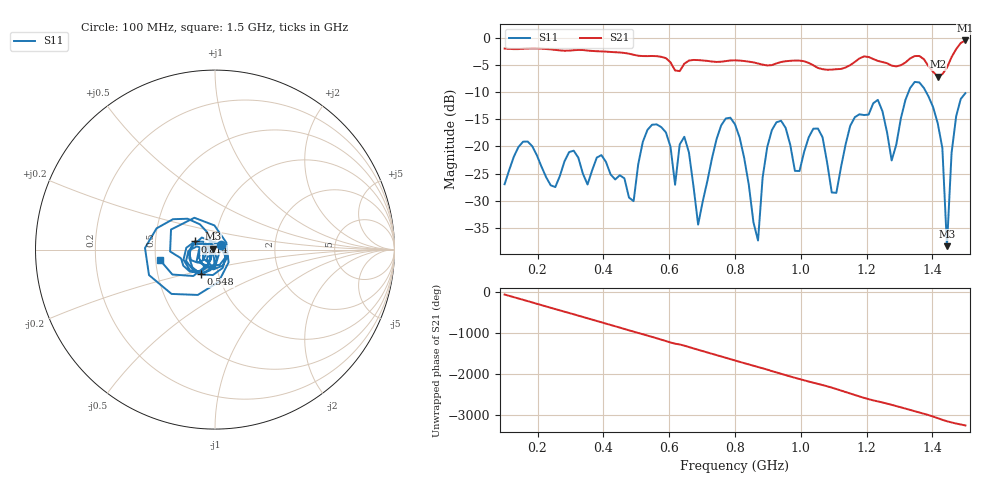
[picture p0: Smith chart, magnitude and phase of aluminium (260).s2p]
! NanoVNA-App
! Date: 2025-09-25 14:57:18
! Start: 100MHz Stop: 1,5GHz Points: 101
! S-Parameter data: F S11 S21 S12 S22
# Hz S RI R 50
!  Frequency  S11_Real  S11_Imag  S21_Real  S21_Imag  S12_Real  S12_Imag  S22_Real  S22_Imag
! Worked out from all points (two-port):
!   101 points, 100 MHz to 1.5 GHz, reference 50 ohm
!   highest |S21| = -0.43 dB at 1.5 GHz (marker M1); lowest = -7.1 dB at 1.416 GHz (marker M2)
!   |S21| within 3 dB of the highest: start of sweep to 573.9 MHz; 1.459 GHz to end of sweep (the widest 2 of 4)
!   lowest |S11| = -38.4 dB at 1.444 GHz (marker M3), VSWR 1.02, Z = 48.9 + j0.524 ohm
!   |S11| at or under -10 dB: start of sweep to 1.327 GHz; 1.381 GHz to end of sweep
!   S12 and S22 are empty: the file has one direction only
!   S11 on the Smith chart (normalised r, x): 100 MHz: 1.07, +0.06; 548 MHz: 0.82, -0.23; 814 MHz: 0.79, +0.07; 1.5 GHz: 0.53, -0.07
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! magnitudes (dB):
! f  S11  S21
! 100 MHz  -27.0  -1.9
! 338 MHz  -25.0  -2.2
! 492 MHz  -30.1  -3.1
! 548 MHz  -16.0  -3.3
! 576 MHz  -16.4  -3.4
! 618 MHz  -27.1  -6.0
! 646 MHz  -18.2  -4.7
! 688 MHz  -34.4  -4.1
! 800 MHz  -15.9  -4.1
! 814 MHz  -18.3  -4.1
! 870 MHz  -37.4  -4.7
! 912 MHz  -17.0  -5.0
! 996 MHz  -24.5  -4.1
! 1.038 GHz  -16.7  -5.0
! 1.094 GHz  -28.5  -5.8
! 1.234 GHz  -11.4  -4.2
! 1.276 GHz  -22.6  -5.1
! 1.346 GHz  -8.1  -3.3
! 1.416 GHz  -15.7  -7.1
! 1.444 GHz  -38.4  -5.4
! 1.458 GHz  -21.2  -3.5
! 1.5 GHz  -10.2  -0.4
